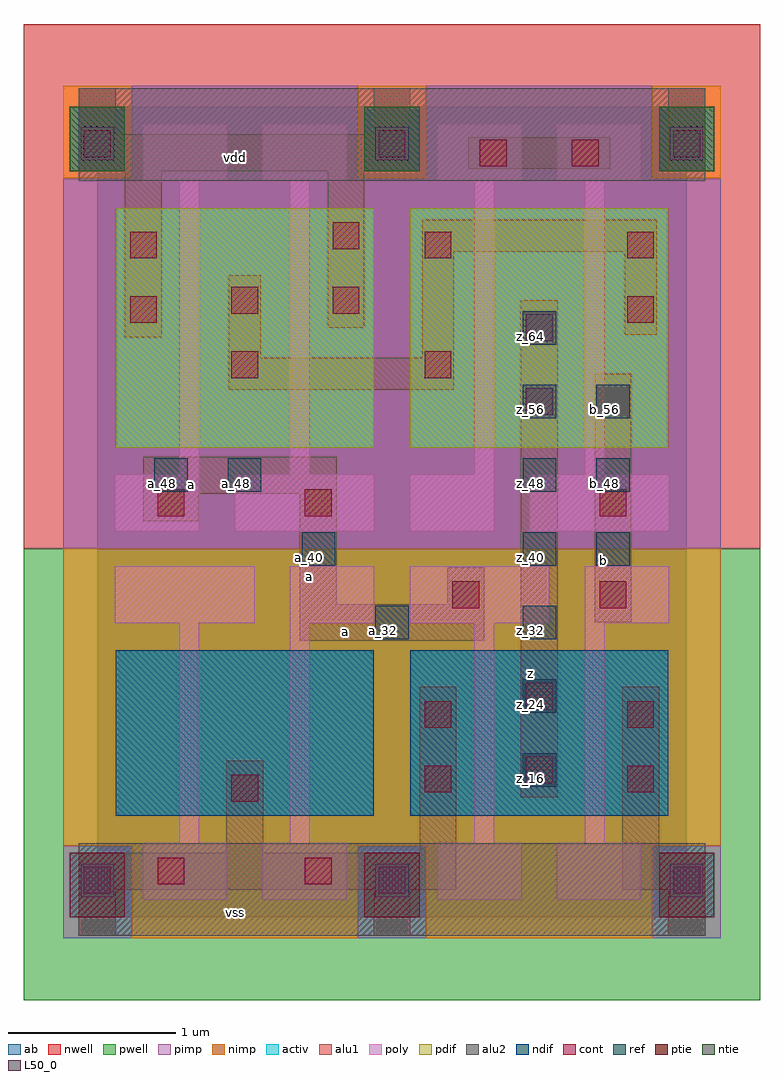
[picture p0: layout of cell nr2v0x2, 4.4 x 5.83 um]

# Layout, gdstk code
import gdstk
lib = gdstk.Library(unit=1e-6, precision=2.5e-09)
def R(c, l, rs):  # rectangles x0, y0, x1, y1
    for r in rs: c.add(gdstk.rectangle(r[:2], r[2:], *l))
def A(c, l, x, y, w, h, nx, ny, dx, dy):  # array of equal rectangles
    R(c, l, [(x+i*dx, y+j*dy, x+i*dx+w, y+j*dy+h) for i in range(nx) for j in range(ny)])
ndif = (3, 0)
pdif = (4, 0)
ntie = (5, 0)
ptie = (6, 0)
ref = (24, 0)
cont = (25, 0)
pwell = (41, 0)
nwell = (42, 0)
activ = (43, 0)
pimp = (44, 0)
nimp = (45, 0)
poly = (46, 0)
alu1 = (49, 0)
L50_0 = (50, 0)
alu2 = (51, 0)
ab = (63, 0)

nr2v0x2 = lib.new_cell('nr2v0x2')
R(nr2v0x2, ndif, [(0.11,0.605,1.65,1.595), (1.87,0.605,3.41,1.595)])
R(nr2v0x2, pdif, [(0.11,2.805,1.65,4.235), (1.87,2.805,3.41,4.235)])
A(nr2v0x2, ntie, -0.165, 4.455, 0.33, 0.385, 3, 1, 1.76, 0)
A(nr2v0x2, ptie, -0.165, 0, 0.33, 0.385, 3, 1, 1.76, 0)
A(nr2v0x2, ref, 2.54, 0.78, 0.2, 0.2, 1, 7, 0, 0.44)
A(nr2v0x2, ref, 2.98, 2.1, 0.2, 0.2, 1, 3, 0, 0.44)
R(nr2v0x2, ref, [(1.66,1.66,1.86,1.86), (1.22,2.1,1.42,2.3), (0.34,2.54,0.54,2.74), (0.78,2.54,0.98,2.74)])
A(nr2v0x2, cont, -0.08, 0.14, 0.16, 0.16, 3, 2, 1.76, 4.4)
R(nr2v0x2, cont, [(0.36,0.195,0.52,0.355), (1.24,0.195,1.4,0.355), (0.8,0.69,0.96,0.85), (1.955,0.745,2.115,0.905), (3.165,0.745,3.325,0.905), (2.56,0.8,2.72,0.96), (1.955,1.13,2.115,1.29), (3.165,1.13,3.325,1.29), (2.56,1.24,2.72,1.4), (2.12,1.845,2.28,2.005), (3,1.845,3.16,2.005), (0.36,2.395,0.52,2.555), (1.24,2.395,1.4,2.555), (3,2.395,3.16,2.555), (2.56,3,2.72,3.16), (0.8,3.22,0.96,3.38), (1.955,3.22,2.115,3.38), (2.56,3.44,2.72,3.6), (0.195,3.55,0.355,3.71), (3.165,3.55,3.325,3.71), (0.8,3.605,0.96,3.765), (1.405,3.605,1.565,3.765), (0.195,3.935,0.355,4.095), (1.955,3.935,2.115,4.095), (3.165,3.935,3.325,4.095), (1.405,3.99,1.565,4.15), (2.285,4.485,2.445,4.645), (2.835,4.485,2.995,4.645)])
R(nr2v0x2, pwell, [(-0.44,-0.495,3.96,2.2)])
R(nr2v0x2, nwell, [(-0.44,2.2,3.96,5.335)])
A(nr2v0x2, activ, -0.165, 0, 0.33, 0.385, 3, 2, 1.76, 4.455)
R(nr2v0x2, activ, [(0.11,0.605,1.65,1.595), (1.87,0.605,3.41,1.595), (0.11,2.805,1.65,4.235), (1.87,2.805,3.41,4.235)])
A(nr2v0x2, pimp, -0.205, -0.125, 0.41, 0.55, 3, 1, 1.76, 0)
R(nr2v0x2, pimp, [(-0.205,2.2,3.725,4.415), (0.205,4.415,1.555,4.965), (1.965,4.415,3.315,4.965)])
A(nr2v0x2, nimp, -0.205, 4.415, 0.41, 0.55, 3, 1, 1.76, 0)
R(nr2v0x2, nimp, [(0.205,-0.125,1.555,0.425), (1.965,-0.125,3.315,0.425), (-0.205,0.425,3.725,2.2)])
R(nr2v0x2, poly, [(0.27,0.105,0.775,0.445), (0.985,0.105,1.49,0.445), (2.03,0.105,2.535,0.445), (2.745,0.105,3.25,0.445), (0.49,0.445,0.61,1.755), (1.15,0.445,1.27,1.755), (2.25,0.445,2.37,1.755), (2.91,0.445,3.03,1.755), (0.105,1.755,0.94,2.095), (1.15,1.755,1.655,2.095), (1.865,1.755,2.7,2.095), (2.91,1.755,3.415,2.095), (0.105,2.305,0.61,2.645), (0.82,2.305,1.655,2.645), (1.865,2.305,2.37,2.645), (2.58,2.305,3.415,2.645), (0.49,2.645,0.61,4.395), (1.15,2.645,1.27,4.395), (2.25,2.645,2.37,4.395), (2.91,2.645,3.03,4.395), (0.27,4.395,0.775,4.735), (0.985,4.395,1.49,4.735), (2.03,4.395,2.535,4.735), (2.745,4.395,3.25,4.735)])
A(nr2v0x2, alu1, -0.11, -0.11, 0.22, 0.275, 3, 1, 1.76, 0)
R(nr2v0x2, alu1, [(-0.11,0.165,2.145,0.385), (3.135,0.165,3.63,0.385), (0.77,0.385,0.99,0.935), (1.925,0.385,2.145,1.375), (3.135,0.385,3.355,1.375), (2.53,0.715,2.75,3.685), (1.21,1.65,2.31,1.87), (2.97,1.76,3.19,3.245), (1.21,1.87,1.43,2.53), (2.09,1.87,2.31,2.09), (0.275,2.365,0.605,2.53), (0.275,2.53,1.43,2.75), (0.785,3.15,2.13,3.34), (0.785,3.34,0.975,3.835), (1.94,3.34,2.13,3.975), (0.165,3.465,0.385,4.455), (3.15,3.48,3.34,3.975), (1.375,3.52,1.595,4.455), (1.94,3.975,3.34,4.165), (-0.11,4.455,1.87,4.675), (3.41,4.455,3.63,4.95), (2.215,4.47,3.065,4.66), (-0.11,4.675,0.11,4.95), (1.65,4.675,1.87,4.95)])
A(nr2v0x2, L50_0, -0.1, 0.12, 0.2, 0.2, 3, 2, 1.76, 4.4)
R(nr2v0x2, alu2, [(-0.11,-0.11,3.63,0.44), (-0.11,4.4,3.63,4.95)])
R(nr2v0x2, ab, [(0,0,3.52,4.84)])
nr2v0x2.add(gdstk.Label('b', (3.025,2.13), layer=49, texttype=0))
nr2v0x2.add(gdstk.Label('z', (2.585,1.4575), layer=49, texttype=0))
nr2v0x2.add(gdstk.Label('a', (1.485,1.705), layer=49, texttype=0))
nr2v0x2.add(gdstk.Label('a', (1.265,2.035), layer=49, texttype=0))
nr2v0x2.add(gdstk.Label('a', (0.5625,2.585), layer=49, texttype=0))
nr2v0x2.add(gdstk.Label('vss', (0.825,0.0275), layer=51, texttype=0))
nr2v0x2.add(gdstk.Label('vdd', (0.825,4.5375), layer=51, texttype=0))
nr2v0x2.add(gdstk.Label('a_48', (0.39,2.59), layer=24, texttype=0))
nr2v0x2.add(gdstk.Label('a_48', (0.83,2.59), layer=24, texttype=0))
nr2v0x2.add(gdstk.Label('z_56', (2.59,3.03), layer=24, texttype=0))
nr2v0x2.add(gdstk.Label('a_40', (1.27,2.15), layer=24, texttype=0))
nr2v0x2.add(gdstk.Label('z_64', (2.59,3.47), layer=24, texttype=0))
nr2v0x2.add(gdstk.Label('z_48', (2.59,2.59), layer=24, texttype=0))
nr2v0x2.add(gdstk.Label('z_40', (2.59,2.15), layer=24, texttype=0))
nr2v0x2.add(gdstk.Label('z_32', (2.59,1.71), layer=24, texttype=0))
nr2v0x2.add(gdstk.Label('z_24', (2.59,1.27), layer=24, texttype=0))
nr2v0x2.add(gdstk.Label('z_16', (2.59,0.83), layer=24, texttype=0))
nr2v0x2.add(gdstk.Label('b_40', (3.03,2.15), layer=24, texttype=0))
nr2v0x2.add(gdstk.Label('b_48', (3.03,2.59), layer=24, texttype=0))
nr2v0x2.add(gdstk.Label('b_56', (3.03,3.03), layer=24, texttype=0))
nr2v0x2.add(gdstk.Label('a_32', (1.71,1.71), layer=24, texttype=0))

lib.write_gds('nr2v0x2.gds')
